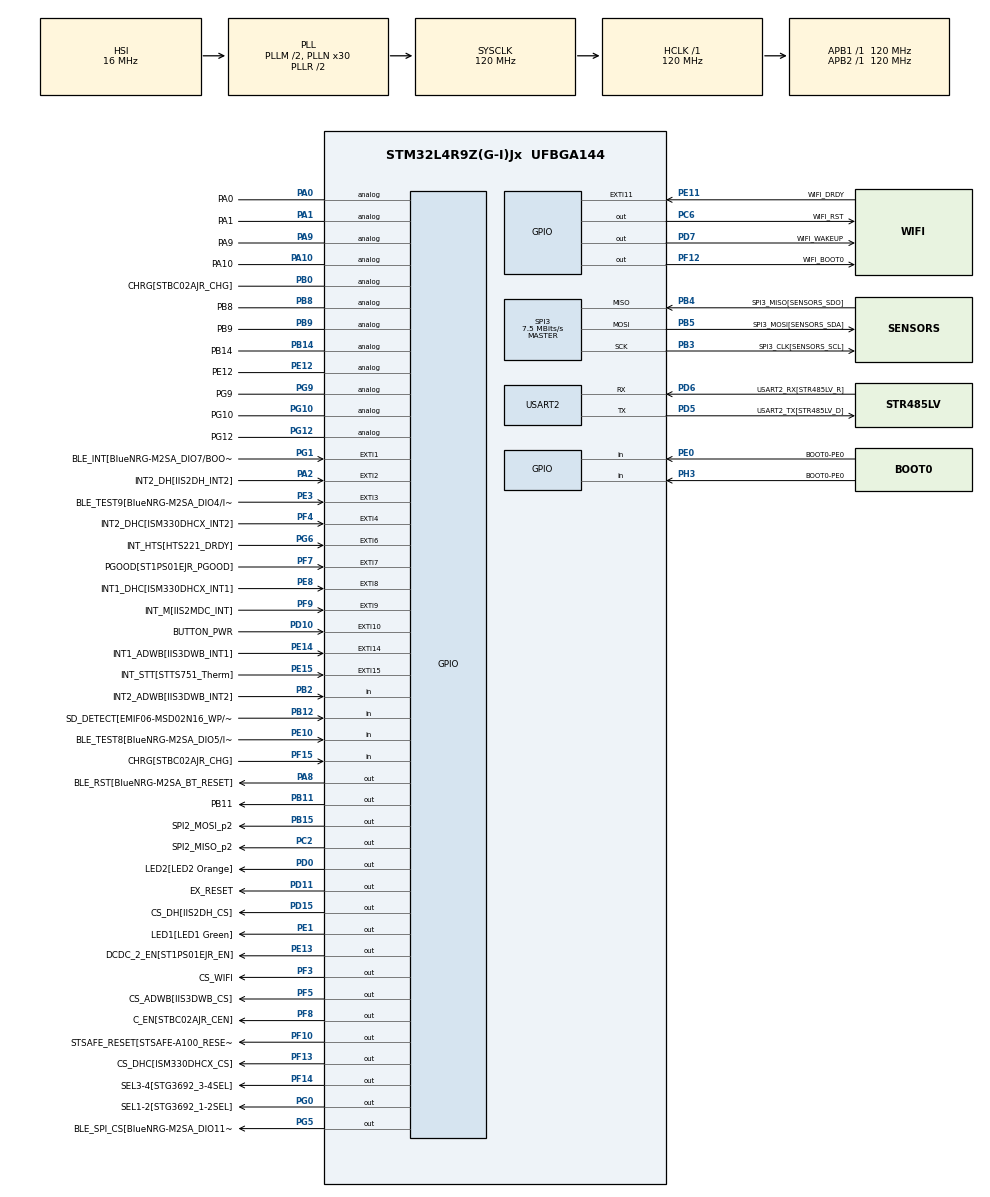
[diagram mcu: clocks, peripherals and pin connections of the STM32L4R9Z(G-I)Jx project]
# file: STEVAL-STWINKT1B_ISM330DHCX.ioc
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Mcu.Family=STM32L4
Mcu.Name=STM32L4R9Z(G-I)Jx
Mcu.Package=UFBGA144
NVIC.EXTI9_5_IRQn=true\:0\:0\:false\:false\:true\:true\:true\:true
NVIC.PriorityGroup=NVIC_PRIORITYGROUP_4
PA0.GPIO_Label=PA0
PA0.Signal=GPIO_Analog
PA1.GPIO_Label=PA1
PA1.Signal=GPIO_Analog
PA10.GPIO_Label=PA10
PA10.Signal=GPIO_Analog
PA11.GPIO_Label=OTG_FS_DM[USBLC6-2P6_D2]
PA11.Signal=USB_OTG_FS_DM
PA12.GPIO_Label=OTG_FS_DP[USBLC6-2P6_D1]
PA12.Signal=USB_OTG_FS_DP
PA13\ (JTMS/SWDIO).GPIO_Label=SWDIO
PA13\ (JTMS/SWDIO).Signal=SYS_JTMS-SWDIO
PA14\ (JTCK/SWCLK).GPIO_Label=SWDCLK
PA14\ (JTCK/SWCLK).Signal=SYS_JTCK-SWCLK
PA15\ (JTDI).GPIO_Label=EX_PWM
PA15\ (JTDI).Signal=S_TIM2_CH1
PA2.GPIO_Label=INT2_DH[IIS2DH_INT2]
PA2.Signal=GPXTI2
PA4.GPIO_Label=DAC1_OUT1
PA4.Signal=COMP_DAC11_group
PA5.GPIO_Label=EX_ADC
PA5.Signal=ADCx_IN10
PA8.GPIO_Label=BLE_RST[BlueNRG-M2SA_BT_RESET]
PA8.Signal=GPIO_Output
PA9.GPIO_Label=PA9
PA9.Signal=GPIO_Analog
PB0.GPIO_Label=CHRG[STBC02AJR_CHG]
PB0.Signal=GPIO_Analog
PB1.GPIO_Label=USART3_RTS[STG3692_3S2]
PB1.Signal=USART3_RTS
PB10.GPIO_Label=DFSDM1_D7
PB10.GPIO_PuPd=GPIO_PULLDOWN
PB10.GPIO_Speed=GPIO_SPEED_FREQ_VERY_HIGH
PB10.Signal=S_DATAIN7DFSDM1
PB11.GPIO_Label=PB11
PB11.Signal=GPIO_Output
PB12.GPIO_Label=SD_DETECT[EMIF06-MSD02N16_WP/CD]
PB12.Signal=GPIO_Input
PB13.GPIO_Label=USART3_CTS
PB13.Signal=USART3_CTS
PB14.GPIO_Label=PB14
PB14.Signal=GPIO_Analog
PB15.GPIO_Label=SPI2_MOSI_p2
PB15.Signal=GPIO_Output
PB2.GPIO_Label=INT2_ADWB[IIS3DWB_INT2]
PB2.Signal=GPIO_Input
PB3\ (JTDO/TRACESWO).GPIO_Label=SPI3_CLK[SENSORS_SCL]
PB3\ (JTDO/TRACESWO).Mode=Full_Duplex_Master
PB3\ (JTDO/TRACESWO).Signal=SPI3_SCK
PB4\ (NJTRST).GPIO_Label=SPI3_MISO[SENSORS_SDO]
PB4\ (NJTRST).Mode=Full_Duplex_Master
PB4\ (NJTRST).Signal=SPI3_MISO
PB5.GPIO_Label=SPI3_MOSI[SENSORS_SDA]
PB5.Mode=Full_Duplex_Master
PB5.Signal=SPI3_MOSI
PB6.GPIO_Label=DFSDM1_DATIN5[IMP34DT05_DOUT]
PB6.GPIO_PuPd=GPIO_PULLDOWN
PB6.GPIO_Speed=GPIO_SPEED_FREQ_VERY_HIGH
PB6.Signal=S_DATAIN5DFSDM1
PB8.GPIO_Label=PB8
PB8.Signal=GPIO_Analog
PB9.GPIO_Label=PB9
PB9.Signal=GPIO_Analog
PC0.GPIO_Label=ADC1_IN1[TS922EIJT_OUT2]
PC0.Signal=ADCx_IN1
PC1.GPIO_Label=ADC1_IN2[TS922EIJT_OUT1]
PC1.Signal=ADCx_IN2
PC10.GPIO_Label=SDMMC_D2[EMIF06-MSD02N16_DAT2_In]
PC10.Signal=SDMMC1_D2
PC11.GPIO_Label=SDMMC_D3[EMIF06-MSD02N16_DAT3_In]
PC11.Signal=SDMMC1_D3
PC12.GPIO_Label=SDMMC_CK[EMIF06-MSD02N16_CLK_In]
PC12.Signal=SDMMC1_CK
PC13.GPIO_Label=RTC_TAMP1
PC13.Signal=RTC_TAMP1
PC14-OSC32_IN\ (PC14).GPIO_Label=OSC32_IN
PC14-OSC32_IN\ (PC14).Signal=RCC_OSC32_IN
PC15-OSC32_OUT\ (PC15).GPIO_Label=OSC32_OUT
PC15-OSC32_OUT\ (PC15).Signal=RCC_OSC32_OUT
PC2.GPIO_Label=SPI2_MISO_p2
PC2.Signal=GPIO_Output
PC3.GPIO_Label=SPI2_MOSI[BlueNRG-M2SA_DIO3/SPI_MOSI]
PC3.Signal=SPI2_MOSI
PC4.GPIO_Label=uC_ADC_BATT[STBC02AJR_BATMS]
PC4.Signal=ADCx_IN13
PC5.GPIO_Label=PC5/WKUP5
PC5.Signal=SYS_WKUP5
PC6.GPIO_Label=WIFI_RST
PC6.Signal=GPIO_Output
PC8.GPIO_Label=SDMMC_D0[EMIF06-MSD02N16_DAT0_In]
PC8.Signal=SDMMC1_D0
PC9.GPIO_Label=SDMMC_D1[EMIF06-MSD02N16_DAT1_In]
PC9.Signal=SDMMC1_D1
PD0.GPIO_Label=LED2[LED2 Orange]
PD0.Signal=GPIO_Output
PD1.GPIO_Label=SPI2_CLK[BlueNRG-M2SA_DIO0/SPI_CLK]
PD1.Signal=SPI2_SCK
PD10.GPIO_Label=BUTTON_PWR
PD10.Signal=GPXTI10
PD11.GPIO_Label=EX_RESET 
PD11.Signal=GPIO_Output
PD12.GPIO_Label=I2C4_SCL
PD12.Signal=I2C4_SCL
PD13.GPIO_Label=I2C4_SDA
PD13.Signal=I2C4_SDA
PD15.GPIO_Label=CS_DH[IIS2DH_CS]
PD15.PinState=GPIO_PIN_SET
PD15.Signal=GPIO_Output
PD2.GPIO_Label=SDMMC_CMD[EMIF06-MSD02N16_CMD_In]
PD2.Signal=SDMMC1_CMD
PD3.GPIO_Label=SPI2_MISO[BlueNRG-M2SA_DIO2/SPI_MISO]
PD3.Signal=SPI2_MISO
PD4.GPIO_Label=USART2_RTS[STR485LV_DE]
PD4.Signal=USART2_RTS
PD5.GPIO_Label=USART2_TX[STR485LV_D]
PD5.Mode=Asynchronous
PD5.Signal=USART2_TX
PD6.GPIO_Label=USART2_RX[STR485LV_R]
PD6.Mode=Asynchronous
PD6.Signal=USART2_RX
PD7.GPIO_Label=WIFI_WAKEUP
PD7.Signal=GPIO_Output
PD8.GPIO_Label=USART3_TX[STG3692_1S1]
PD8.Signal=USART3_TX
PD9.GPIO_Label=USART3_RX[STG3692_2S1]
PD9.Signal=USART3_RX
PE0.GPIO_Label=BOOT0-PE0
PE0.Signal=GPIO_Input
PE1.GPIO_Label=LED1[LED1 Green]
PE1.Signal=GPIO_Output
PE10.GPIO_Label=BLE_TEST8[BlueNRG-M2SA_DIO5/I2C_SDA]
PE10.Signal=GPIO_Input
PE11.GPIO_Label=WIFI_DRDY
PE11.Signal=GPXTI11
PE12.GPIO_Label=PE12
PE12.Signal=GPIO_Analog
PE13.GPIO_Label=DCDC_2_EN[ST1PS01EJR_EN]
PE13.Signal=GPIO_Output
PE14.GPIO_Label=INT1_ADWB[IIS3DWB_INT1]
PE14.Signal=GPXTI14
PE15.GPIO_Label=INT_STT[STTS751_Therm]
PE15.Signal=GPXTI15
PE2.GPIO_Label=SAI1_MCLK_A
PE2.Signal=SAI1_MCLK_A
PE3.GPIO_Label=BLE_TEST9[BlueNRG-M2SA_DIO4/I2C_CLK]
PE3.Signal=GPXTI3
PE4.GPIO_Label=SAI1_FS_A/DFSDM_D3
PE4.Signal=SAI1_FS_A
PE5.GPIO_Label=SAI1_SCK_A
PE5.Signal=SAI1_SCK_A
PE6.GPIO_Label=SAI1_SD_A
PE6.Signal=SAI1_SD_A
PE7.GPIO_Label=SAI1_SD_B
PE7.Signal=SAI1_SD_B
PE8.GPIO_Label=INT1_DHC[ISM330DHCX_INT1]
PE8.Signal=GPXTI8
PE9.GPIO_Label=DFSDM1_CKOUT[IMP34DT05_CLK]
PE9.GPIO_PuPd=GPIO_PULLDOWN
PE9.GPIO_Speed=GPIO_SPEED_FREQ_VERY_HIGH
PE9.Signal=S_CKOUTDFSDM1
PF0.GPIO_Label=I2C2_SDA[SENSORS_SDA]
PF0.Signal=I2C2_SDA
PF1.GPIO_Label=I2C2_SDA[SENSORS_SCL]
PF1.Signal=I2C2_SCL
PF10.GPIO_Label=STSAFE_RESET[STSAFE-A100_RESET]
PF10.Signal=GPIO_Output
PF12.GPIO_Label=WIFI_BOOT0
PF12.Signal=GPIO_Output
PF13.GPIO_Label=CS_DHC[ISM330DHCX_CS]
PF13.GPIO_Speed=GPIO_SPEED_FREQ_HIGH
PF13.PinState=GPIO_PIN_SET
PF13.Signal=GPIO_Output
PF14.GPIO_Label=SEL3-4[STG3692_3-4SEL]
PF14.Signal=GPIO_Output
PF15.GPIO_Label=CHRG[STBC02AJR_CHG]
PF15.Signal=GPIO_Input
PF2.GPIO_Label=I2C2_SMBA[STTS751_EV]
PF2.Signal=I2C2_SMBA
PF3.GPIO_Label=CS_WIFI
PF3.PinState=GPIO_PIN_SET
PF3.Signal=GPIO_Output
PF4.GPIO_Label=INT2_DHC[ISM330DHCX_INT2]
PF4.Signal=GPXTI4
PF5.GPIO_Label=CS_ADWB[IIS3DWB_CS]
PF5.PinState=GPIO_PIN_SET
PF5.Signal=GPIO_Output
PF6.GPIO_Label=SW_SEL[STBC02AJR_SW_SEL]
PF6.GPIO_Speed=GPIO_SPEED_FREQ_HIGH
PF6.Signal=S_TIM5_CH1
PF7.GPIO_Label=PGOOD[ST1PS01EJR_PGOOD]
PF7.Signal=GPXTI7
PF8.GPIO_Label=C_EN[STBC02AJR_CEN]
PF8.Signal=GPIO_Output
PF9.GPIO_Label=INT_M[IIS2MDC_INT]
PF9.Signal=GPXTI9
PG0.GPIO_Label=SEL1-2[STG3692_1-2SEL]
PG0.Signal=GPIO_Output
PG1.GPIO_Label=BLE_INT[BlueNRG-M2SA_DIO7/BOOT/UART_CTS]
PG1.Signal=GPXTI1
PG10.GPIO_Label=PG10
PG10.Signal=GPIO_Analog
PG12.GPIO_Label=PG12
PG12.Signal=GPIO_Analog
PG2.GPIO_Label=SPI1_CLK
PG2.Signal=SPI1_SCK
PG3.GPIO_Label=SPI1_MISO
PG3.Signal=SPI1_MISO
PG4.GPIO_Label=SPI1_MOSI
PG4.Signal=SPI1_MOSI
PG5.GPIO_Label=BLE_SPI_CS[BlueNRG-M2SA_DIO11/UART_RXD]
PG5.Signal=GPIO_Output
PG6.GPIO_Label=INT_HTS[HTS221_DRDY]
PG6.Signal=GPXTI6
PG7.GPIO_Label=I2C3_SCL[STSAFE-A110_SCL]
PG7.Signal=I2C3_SCL
PG8.GPIO_Label=I2C3_SDA[STSAFE-A110_SDA]
PG8.Signal=I2C3_SDA
PG9.GPIO_Label=PG9
PG9.Signal=GPIO_Analog
PH0-OSC_IN\ (PH0).GPIO_Label=OSC_IN
PH0-OSC_IN\ (PH0).Signal=RCC_OSC_IN
PH1-OSC_OUT\ (PH1).GPIO_Label=OSC_OUT
PH1-OSC_OUT\ (PH1).Signal=RCC_OSC_OUT
PH3-BOOT0.GPIO_Label=BOOT0-PE0
PH3-BOOT0.Signal=GPIO_Input
ProjectManager.HeapSize=0x200
ProjectManager.StackSize=0x400
ProjectManager.TargetToolchain=Makefile
RCC.ADCFreq_Value=76800000
RCC.AHBFreq_Value=120000000
RCC.APB1Freq_Value=120000000
RCC.APB1TimFreq_Value=120000000
RCC.APB2Freq_Value=120000000
RCC.APB2TimFreq_Value=120000000
RCC.CK48CLockSelection=RCC_USBCLKSOURCE_HSI48
RCC.CortexFreq_Value=120000000
RCC.DSITX_Div=1
RCC.HCLKFreq_Value=120000000
RCC.HSE_VALUE=16000000
RCC.HSI48_VALUE=48000000
RCC.HSI_VALUE=16000000
RCC.LSE_VALUE=32768
RCC.MSI_VALUE=4000000
RCC.PLLDSIODF=DSI_PLL_OUT_DIV2
RCC.PLLM1=2
RCC.PLLM2=5
RCC.PLLM3=2
RCC.PLLN=30
RCC.PLLSAI1N=96
RCC.PLLSAI1P=RCC_PLLP_DIV25
RCC.PLLSAI1Q=RCC_PLLQ_DIV4
RCC.PLLSAI1R=RCC_PLLR_DIV4
RCC.PLLSourceVirtual=RCC_PLLSOURCE_HSI
RCC.RTCClockSelection=RCC_RTCCLKSOURCE_LSE
RCC.SDMMCClockSelection=RCC_SDIOCLKSOURCE_CLK48
RCC.SYSCLKFreq_VALUE=120000000
RCC.SYSCLKSource=RCC_SYSCLKSOURCE_PLLCLK
RCC.USBFreq_Value=48000000
RCC.VCOOutputFreq_Value=240000000
SH.ADCx_IN1.0=ADC1_IN1
SH.ADCx_IN10.0=ADC1_IN10
SH.ADCx_IN13.0=ADC1_IN13
SH.ADCx_IN2.0=ADC1_IN2
SH.COMP_DAC11_group.0=DAC1_OUT1
SH.S_CKOUTDFSDM1.0=DFSDM1_CKOUT
SH.S_DATAIN5DFSDM1.0=DFSDM1_DATIN5
SH.S_DATAIN7DFSDM1.0=DFSDM1_DATIN7
SH.S_TIM2_CH1.0=TIM2_CH1
SH.S_TIM5_CH1.0=TIM5_CH1
SPI3.BaudRatePrescaler=SPI_BAUDRATEPRESCALER_16
SPI3.CLKPhase=SPI_PHASE_2EDGE
SPI3.CLKPolarity=SPI_POLARITY_HIGH
SPI3.CalculateBaudRate=7.5 MBits/s
SPI3.DataSize=SPI_DATASIZE_8BIT
SPI3.Direction=SPI_DIRECTION_2LINES
SPI3.Mode=SPI_MODE_MASTER
SPI3.VirtualType=VM_MASTER
USART2.VirtualMode-Asynchronous=VM_ASYNC
board=STEVAL-STWINKT1B

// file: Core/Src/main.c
/* USER CODE BEGIN Header */
/**
  ******************************************************************************
  * @file           : main.c
  * @brief          : Main program body
  ******************************************************************************
  * @attention
  *
  * Copyright (c) 2022 STMicroelectronics.
  * All rights reserved.
  *
  * This software is licensed under terms that can be found in the LICENSE file
  * in the root directory of this software component.
  * If no LICENSE file comes with this software, it is provided AS-IS.
  * Modificado por Biblioman09:
  *
  * https://www.youtube.com/watch?v=KS5iw9z0krg
  *
  ******************************************************************************
  */
/* USER CODE END Header */
#include "main.h"

/* USER CODE BEGIN Includes */
#include <string.h>
#include <stdio.h>
#include "ism330dhcx_reg.h"
#include "cycle_dwt.h"
#include "NanoEdgeAI.h"

/* USER CODE END Includes */

/* USER CODE BEGIN PD */
/************************************************************ NEAI algorithm defines begin ************************************************************/
/************************************************************ Global settings part ************************************************************/
#ifndef AXIS
  #define AXIS                          3                         /* Axis should be defined between 1 and 3 */
#endif
#ifndef SAMPLES
  #define SAMPLES                       256                       /* Should be between 16 & 4096 */
#endif
#define MAX_FIFO_SIZE                   256                       /* The maximum number of data we can get in the FIFO is 512 but here we define max to 256 for our need */
#define FIFO_FULL                       512                       /* FIFO full size */
/************************************************************ Sensor type part ************************************************************/
#define GYROSCOPE                       0
#define ACCELEROMETER                   1
#ifndef SENSOR_TYPE
  #define SENSOR_TYPE                   ACCELEROMETER             /* Here we define the data type we're going to collect */
#endif
/************************************************************ Sensors configuration part ************************************************************/
#if (SENSOR_TYPE == ACCELEROMETER)
  #ifndef ACCELEROMETER_ODR
    #define ACCELEROMETER_ODR           ISM330DHCX_XL_ODR_833Hz  /* Shoud be between ISM330DHCX_XL_ODR_12Hz5 and ISM330DHCX_XL_ODR_6667Hz */

  #endif
  #ifndef ACCELEROMETER_FS
    #define ACCELEROMETER_FS            ISM330DHCX_2g             /* Should be between ISM330DHCX_2g and ISM330DHCX_8g */
  #endif
#elif (SENSOR_TYPE == GYROSCOPE)
  #ifndef GYROSCOPE_ODR
    #define GYROSCOPE_ODR               ISM330DHCX_GY_ODR_1666Hz  /* Shoud be between ISM330DHCX_GY_ODR_12Hz5 and ISM330DHCX_GY_ODR_6667Hz */
  #endif
  #ifndef GYROSCOPE_FS
    #define GYROSCOPE_FS                ISM330DHCX_2000dps        /* Should be between ISM330DHCX_125dps and ISM330DHCX_4000dps */
  #endif
#endif
/************************************************************ Datalogger / NEAI mode part ************************************************************/
#ifndef NEAI_MODE
  #define NEAI_MODE                     1                         /* 0: Datalogger mode, 1: NEAI functions mode */
#endif
#if (NEAI_MODE == 1)
  #ifndef NEAI_LEARN_NB
    #define NEAI_LEARN_NB               30                        /* Number of buffers to be learn by the NEAI library */
  #endif
#endif
/************************************************************ NEAI algorithm defines end ************************************************************/
/* USER CODE END PD */

 SPI_HandleTypeDef hspi3;

UART_HandleTypeDef huart2;

/* USER CODE BEGIN PV */
static int16_t data_raw_acceleration[3];
static int16_t data_raw_angular_rate[3];
static uint8_t whoamI, rst;
uint8_t neai_similarity = 0, neai_state = 0, drdy = 0;
uint16_t data_left = (uint16_t) SAMPLES, number_read = 0, neai_buffer_ptr = 0, neai_cnt = 0;
float neai_time = 0.0;
static float neai_buffer[AXIS * SAMPLES] = {0.0};
stmdev_ctx_t dev_ctx;

/* USER CODE END PV */

void SystemClock_Config(void);
static void MX_GPIO_Init(void);
static void MX_SPI3_Init(void);
static void MX_USART2_UART_Init(void);
/* USER CODE BEGIN PFP */
static int32_t platform_write(void *handle, uint8_t reg, const uint8_t *bufp, uint16_t len);
static int32_t platform_read(void *handle, uint8_t reg, uint8_t *bufp, uint16_t len);
static void ism330dhcx_initialize(void);
static void ism330dhcx_initialize_basics(void);
static void ism330dhcx_initialize_fifo(void);
static void ism330dhcx_get_buffer_from_fifo(uint16_t nb);
static float ism330dhcx_convert_gyro_data_to_mdps(int16_t gyro_raw_data);
static float ism330dhcx_convert_accel_data_to_mg(int16_t accel_raw_data);

/* USER CODE END PFP */

int main(void)
{
  /* USER CODE BEGIN 1 */
  /* Initialize mems driver interface */
  dev_ctx.write_reg = platform_write;
  dev_ctx.read_reg = platform_read;
  dev_ctx.handle = &hspi3;
  /* USER CODE END 1 */

  /* MCU Configuration--------------------------------------------------------*/

  /* Reset of all peripherals, Initializes the Flash interface and the Systick. */
  HAL_Init();

  /* Configure the system clock */
  SystemClock_Config();

  /* Initialize all configured peripherals */
  MX_GPIO_Init();
  MX_SPI3_Init();
  MX_USART2_UART_Init();
  /* USER CODE BEGIN 2 */
  KIN1_InitCycleCounter();
  KIN1_EnableCycleCounter();
  ism330dhcx_initialize();
  if (NEAI_MODE) {
    neai_state = neai_anomalydetection_init();
    printf("Initialize NEAI library. NEAI init return: %d.\n\r",  neai_state);
  }
  /* USER CODE END 2 */

  /* Infinite loop */
  /* USER CODE BEGIN WHILE */
  while (1)
  {
    uint8_t wtm_flag = 0, status2 = 0;
    uint16_t num = 0;
    if (drdy) {
      /* Reset data ready condition */
      drdy = 0;
      ism330dhcx_read_reg(&dev_ctx, ISM330DHCX_FIFO_STATUS2, &status2, 1);
      wtm_flag = status2 >> 7;
      if (wtm_flag) {
        ism330dhcx_fifo_data_level_get(&dev_ctx, &num);
        if (data_left < num) {
          num = data_left;
        }
        ism330dhcx_get_buffer_from_fifo(num);
        data_left -= num;
        number_read += num;
        if (data_left == 0) {
          ism330dhcx_fifo_mode_set(&dev_ctx, ISM330DHCX_BYPASS_MODE);
#if NEAI_MODE
          uint32_t cycles_cnt = 0;
          if (neai_cnt < NEAI_LEARN_NB) {
            neai_cnt++;
            KIN1_ResetCycleCounter();
            neai_state = neai_anomalydetection_learn(neai_buffer);
            cycles_cnt = KIN1_GetCycleCounter();
            neai_time = (cycles_cnt * 1000000.0) / HAL_RCC_GetSysClockFreq();
            printf("Learn: %d / %d. NEAI learn return: %d. Cycles counter: %ld = %.1f µs at %ld Hz.\n\r",
                  neai_cnt, NEAI_LEARN_NB, neai_state, cycles_cnt, neai_time, HAL_RCC_GetSysClockFreq());
          }
          else {
            KIN1_ResetCycleCounter();
            neai_state = neai_anomalydetection_detect(neai_buffer, &neai_similarity);
            cycles_cnt = KIN1_GetCycleCounter();
            neai_time = (cycles_cnt * 1000000.0) / HAL_RCC_GetSysClockFreq();
            printf("Similarity: %d / 100. NEAI detect return: %d. Cycles counter: %ld = %.1f µs at %ld Hz.\n\r",
                  neai_similarity, neai_state, cycles_cnt, neai_time, HAL_RCC_GetSysClockFreq());
          }
#else
          for (uint16_t i = 0; i < AXIS * SAMPLES; i++) {
            printf("%.3f ", neai_buffer[i]);
          }
          printf("\n");
#endif
          data_left = (uint16_t) SAMPLES;
          number_read = 0;
          memset(neai_buffer, 0x00, AXIS * SAMPLES * sizeof(float));
          if (SAMPLES <= MAX_FIFO_SIZE) {
            ism330dhcx_fifo_watermark_set(&dev_ctx, (uint16_t) SAMPLES);
          }
          else {
            ism330dhcx_fifo_watermark_set(&dev_ctx, (uint16_t) MAX_FIFO_SIZE);
          }
          ism330dhcx_fifo_mode_set(&dev_ctx, ISM330DHCX_STREAM_MODE);
        }
        else if (data_left < MAX_FIFO_SIZE) {
          ism330dhcx_fifo_watermark_set(&dev_ctx, data_left);
        }
      }
    }
    /* USER CODE END WHILE */

  }
}

void SystemClock_Config(void)
{
  RCC_OscInitTypeDef RCC_OscInitStruct = {0};
  RCC_ClkInitTypeDef RCC_ClkInitStruct = {0};

  /** Configure the main internal regulator output voltage
  */
  if (HAL_PWREx_ControlVoltageScaling(PWR_REGULATOR_VOLTAGE_SCALE1_BOOST) != HAL_OK)
  {
    Error_Handler();
  }

  /** Initializes the RCC Oscillators according to the specified parameters
  * in the RCC_OscInitTypeDef structure.
  */
  RCC_OscInitStruct.OscillatorType = RCC_OSCILLATORTYPE_HSI;
  RCC_OscInitStruct.HSIState = RCC_HSI_ON;
  RCC_OscInitStruct.HSICalibrationValue = RCC_HSICALIBRATION_DEFAULT;
  RCC_OscInitStruct.PLL.PLLState = RCC_PLL_ON;
  RCC_OscInitStruct.PLL.PLLSource = RCC_PLLSOURCE_HSI;
  RCC_OscInitStruct.PLL.PLLM = 2;
  RCC_OscInitStruct.PLL.PLLN = 30;
  RCC_OscInitStruct.PLL.PLLP = RCC_PLLP_DIV2;
  RCC_OscInitStruct.PLL.PLLQ = RCC_PLLQ_DIV2;
  RCC_OscInitStruct.PLL.PLLR = RCC_PLLR_DIV2;
  if (HAL_RCC_OscConfig(&RCC_OscInitStruct) != HAL_OK)
  {
    Error_Handler();
  }

  /** Initializes the CPU, AHB and APB buses clocks
  */
  RCC_ClkInitStruct.ClockType = RCC_CLOCKTYPE_HCLK|RCC_CLOCKTYPE_SYSCLK
                              |RCC_CLOCKTYPE_PCLK1|RCC_CLOCKTYPE_PCLK2;
  RCC_ClkInitStruct.SYSCLKSource = RCC_SYSCLKSOURCE_PLLCLK;
  RCC_ClkInitStruct.AHBCLKDivider = RCC_SYSCLK_DIV1;
  RCC_ClkInitStruct.APB1CLKDivider = RCC_HCLK_DIV1;
  RCC_ClkInitStruct.APB2CLKDivider = RCC_HCLK_DIV1;

  if (HAL_RCC_ClockConfig(&RCC_ClkInitStruct, FLASH_LATENCY_5) != HAL_OK)
  {
    Error_Handler();
  }
}

static void MX_SPI3_Init(void)
{

  /* SPI3 parameter configuration*/
  hspi3.Instance = SPI3;
  hspi3.Init.Mode = SPI_MODE_MASTER;
  hspi3.Init.Direction = SPI_DIRECTION_2LINES;
  hspi3.Init.DataSize = SPI_DATASIZE_8BIT;
  hspi3.Init.CLKPolarity = SPI_POLARITY_HIGH;
  hspi3.Init.CLKPhase = SPI_PHASE_2EDGE;
  hspi3.Init.NSS = SPI_NSS_SOFT;
  hspi3.Init.BaudRatePrescaler = SPI_BAUDRATEPRESCALER_16;
  hspi3.Init.FirstBit = SPI_FIRSTBIT_MSB;
  hspi3.Init.TIMode = SPI_TIMODE_DISABLE;
  hspi3.Init.CRCCalculation = SPI_CRCCALCULATION_DISABLE;
  hspi3.Init.CRCPolynomial = 7;
  hspi3.Init.CRCLength = SPI_CRC_LENGTH_DATASIZE;
  hspi3.Init.NSSPMode = SPI_NSS_PULSE_DISABLE;
  if (HAL_SPI_Init(&hspi3) != HAL_OK)
  {
    Error_Handler();
  }

}

static void MX_USART2_UART_Init(void)
{

  huart2.Instance = USART2;
  huart2.Init.BaudRate = 115200;
  huart2.Init.WordLength = UART_WORDLENGTH_8B;
  huart2.Init.StopBits = UART_STOPBITS_1;
  huart2.Init.Parity = UART_PARITY_NONE;
  huart2.Init.Mode = UART_MODE_TX_RX;
  huart2.Init.HwFlowCtl = UART_HWCONTROL_NONE;
  huart2.Init.OverSampling = UART_OVERSAMPLING_16;
  huart2.Init.OneBitSampling = UART_ONE_BIT_SAMPLE_DISABLE;
  huart2.Init.ClockPrescaler = UART_PRESCALER_DIV1;
  huart2.AdvancedInit.AdvFeatureInit = UART_ADVFEATURE_NO_INIT;
  if (HAL_UART_Init(&huart2) != HAL_OK)
  {
    Error_Handler();
  }
  if (HAL_UARTEx_SetTxFifoThreshold(&huart2, UART_TXFIFO_THRESHOLD_1_8) != HAL_OK)
  {
    Error_Handler();
  }
  if (HAL_UARTEx_SetRxFifoThreshold(&huart2, UART_RXFIFO_THRESHOLD_1_8) != HAL_OK)
  {
    Error_Handler();
  }
  if (HAL_UARTEx_DisableFifoMode(&huart2) != HAL_OK)
  {
    Error_Handler();
  }

}

static void MX_GPIO_Init(void)
{
  GPIO_InitTypeDef GPIO_InitStruct = {0};

  /* GPIO Ports Clock Enable */
  __HAL_RCC_GPIOE_CLK_ENABLE();
  __HAL_RCC_GPIOB_CLK_ENABLE();
  __HAL_RCC_GPIOH_CLK_ENABLE();
  __HAL_RCC_GPIOD_CLK_ENABLE();
  __HAL_RCC_GPIOC_CLK_ENABLE();
  __HAL_RCC_GPIOA_CLK_ENABLE();
  __HAL_RCC_GPIOG_CLK_ENABLE();
  HAL_PWREx_EnableVddIO2();
  __HAL_RCC_GPIOF_CLK_ENABLE();

  /*Configure GPIO pin Output Level */
  HAL_GPIO_WritePin(GPIOE, LED1_Pin|DCDC_2_EN_Pin, GPIO_PIN_RESET);

  /*Configure GPIO pin Output Level */
  HAL_GPIO_WritePin(GPIOD, LED2_Pin|WIFI_WAKEUP_Pin|EX_RESET_Pin, GPIO_PIN_RESET);

  /*Configure GPIO pin Output Level */
  HAL_GPIO_WritePin(BLE_RST_GPIO_Port, BLE_RST_Pin, GPIO_PIN_RESET);

  /*Configure GPIO pin Output Level */
  HAL_GPIO_WritePin(GPIOC, WIFI_RST_Pin|SPI2_MISO_p2_Pin, GPIO_PIN_RESET);

  /*Configure GPIO pin Output Level */
  HAL_GPIO_WritePin(GPIOF, CS_WIFI_Pin|CS_ADWB_Pin|CS_DHC_Pin, GPIO_PIN_SET);

  /*Configure GPIO pin Output Level */
  HAL_GPIO_WritePin(GPIOF, C_EN_Pin|STSAFE_RESET_Pin|WIFI_BOOT0_Pin|SEL3_4_Pin, GPIO_PIN_RESET);

  /*Configure GPIO pin Output Level */
  HAL_GPIO_WritePin(GPIOG, BLE_SPI_CS_Pin|SEL1_2_Pin, GPIO_PIN_RESET);

  /*Configure GPIO pin Output Level */
  HAL_GPIO_WritePin(CS_DH_GPIO_Port, CS_DH_Pin, GPIO_PIN_SET);

  /*Configure GPIO pin Output Level */
  HAL_GPIO_WritePin(GPIOB, SPI2_MOSI_p2_Pin|PB11_Pin, GPIO_PIN_RESET);

  /*Configure GPIO pins : BOOT0_PE0_Pin BLE_TEST8_Pin */
  GPIO_InitStruct.Pin = BOOT0_PE0_Pin|BLE_TEST8_Pin;
  GPIO_InitStruct.Mode = GPIO_MODE_INPUT;
  GPIO_InitStruct.Pull = GPIO_NOPULL;
  HAL_GPIO_Init(GPIOE, &GPIO_InitStruct);

  /*Configure GPIO pins : PB9_Pin PB8_Pin PB14_Pin CHRGB0_Pin */
  GPIO_InitStruct.Pin = PB9_Pin|PB8_Pin|PB14_Pin|CHRGB0_Pin;
  GPIO_InitStruct.Mode = GPIO_MODE_ANALOG;
  GPIO_InitStruct.Pull = GPIO_NOPULL;
  HAL_GPIO_Init(GPIOB, &GPIO_InitStruct);

  /*Configure GPIO pin : BOOT0_PE0H3_Pin */
  GPIO_InitStruct.Pin = BOOT0_PE0H3_Pin;
  GPIO_InitStruct.Mode = GPIO_MODE_INPUT;
  GPIO_InitStruct.Pull = GPIO_NOPULL;
  HAL_GPIO_Init(BOOT0_PE0H3_GPIO_Port, &GPIO_InitStruct);

  /*Configure GPIO pins : SPI2_MISO_Pin SPI2_CLK_Pin */
  GPIO_InitStruct.Pin = SPI2_MISO_Pin|SPI2_CLK_Pin;
  GPIO_InitStruct.Mode = GPIO_MODE_AF_PP;
  GPIO_InitStruct.Pull = GPIO_NOPULL;
  GPIO_InitStruct.Speed = GPIO_SPEED_FREQ_VERY_HIGH;
  GPIO_InitStruct.Alternate = GPIO_AF5_SPI2;
  HAL_GPIO_Init(GPIOD, &GPIO_InitStruct);

  /*Configure GPIO pins : SDMMC_D3_Pin SDMMC_D2_Pin SDMMC_D1_Pin SDMMC_CK_Pin
                           SDMMC_D0_Pin */
  GPIO_InitStruct.Pin = SDMMC_D3_Pin|SDMMC_D2_Pin|SDMMC_D1_Pin|SDMMC_CK_Pin
                          |SDMMC_D0_Pin;
  GPIO_InitStruct.Mode = GPIO_MODE_AF_PP;
  GPIO_InitStruct.Pull = GPIO_NOPULL;
  GPIO_InitStruct.Speed = GPIO_SPEED_FREQ_VERY_HIGH;
  GPIO_InitStruct.Alternate = GPIO_AF12_SDMMC1;
  HAL_GPIO_Init(GPIOC, &GPIO_InitStruct);

  /*Configure GPIO pins : BLE_TEST9_Pin WIFI_DRDY_Pin INT1_DHC_Pin INT_STT_Pin
                           INT1_ADWB_Pin */
  GPIO_InitStruct.Pin = BLE_TEST9_Pin|WIFI_DRDY_Pin|INT1_DHC_Pin|INT_STT_Pin
                          |INT1_ADWB_Pin;
  GPIO_InitStruct.Mode = GPIO_MODE_IT_RISING;
  GPIO_InitStruct.Pull = GPIO_NOPULL;
  HAL_GPIO_Init(GPIOE, &GPIO_InitStruct);

  /*Configure GPIO pin : EX_PWM_Pin */
  GPIO_InitStruct.Pin = EX_PWM_Pin;
  GPIO_InitStruct.Mode = GPIO_MODE_AF_PP;
  GPIO_InitStruct.Pull = GPIO_NOPULL;
  GPIO_InitStruct.Speed = GPIO_SPEED_FREQ_LOW;
  GPIO_InitStruct.Alternate = GPIO_AF1_TIM2;
  HAL_GPIO_Init(EX_PWM_GPIO_Port, &GPIO_InitStruct);

  /*Configure GPIO pins : OTG_FS_DP_Pin OTG_FS_DM_Pin */
  GPIO_InitStruct.Pin = OTG_FS_DP_Pin|OTG_FS_DM_Pin;
  GPIO_InitStruct.Mode = GPIO_MODE_AF_PP;
  GPIO_InitStruct.Pull = GPIO_NOPULL;
  GPIO_InitStruct.Speed = GPIO_SPEED_FREQ_VERY_HIGH;
  GPIO_InitStruct.Alternate = GPIO_AF10_OTG_FS;
  HAL_GPIO_Init(GPIOA, &GPIO_InitStruct);

  /*Configure GPIO pins : SAI1_SCK_A_Pin SAI1_MCLK_A_Pin SAI1_FS_A_DFSDM_D3_Pin SAI1_SD_A_Pin
                           SAI1_SD_B_Pin */
  GPIO_InitStruct.Pin = SAI1_SCK_A_Pin|SAI1_MCLK_A_Pin|SAI1_FS_A_DFSDM_D3_Pin|SAI1_SD_A_Pin
                          |SAI1_SD_B_Pin;
  GPIO_InitStruct.Mode = GPIO_MODE_AF_PP;
  GPIO_InitStruct.Pull = GPIO_NOPULL;
  GPIO_InitStruct.Speed = GPIO_SPEED_FREQ_LOW;
  GPIO_InitStruct.Alternate = GPIO_AF13_SAI1;
  HAL_GPIO_Init(GPIOE, &GPIO_InitStruct);

  /*Configure GPIO pins : LED1_Pin DCDC_2_EN_Pin */
  GPIO_InitStruct.Pin = LED1_Pin|DCDC_2_EN_Pin;
  GPIO_InitStruct.Mode = GPIO_MODE_OUTPUT_PP;
  GPIO_InitStruct.Pull = GPIO_NOPULL;
  GPIO_InitStruct.Speed = GPIO_SPEED_FREQ_LOW;
  HAL_GPIO_Init(GPIOE, &GPIO_InitStruct);

  /*Configure GPIO pins : LED2_Pin WIFI_WAKEUP_Pin CS_DH_Pin EX_RESET_Pin */
  GPIO_InitStruct.Pin = LED2_Pin|WIFI_WAKEUP_Pin|CS_DH_Pin|EX_RESET_Pin;
  GPIO_InitStruct.Mode = GPIO_MODE_OUTPUT_PP;
  GPIO_InitStruct.Pull = GPIO_NOPULL;
  GPIO_InitStruct.Speed = GPIO_SPEED_FREQ_LOW;
  HAL_GPIO_Init(GPIOD, &GPIO_InitStruct);

  /*Configure GPIO pins : PA10_Pin PA9_Pin PA0_Pin DAC1_OUT1_Pin
                           PA1_Pin */
  GPIO_InitStruct.Pin = PA10_Pin|PA9_Pin|PA0_Pin|DAC1_OUT1_Pin
                          |PA1_Pin;
  GPIO_InitStruct.Mode = GPIO_MODE_ANALOG;
  GPIO_InitStruct.Pull = GPIO_NOPULL;
  HAL_GPIO_Init(GPIOA, &GPIO_InitStruct);

  /*Configure GPIO pins : DFSDM1_DATIN5_Pin DFSDM1_D7_Pin */
  GPIO_InitStruct.Pin = DFSDM1_DATIN5_Pin|DFSDM1_D7_Pin;
  GPIO_InitStruct.Mode = GPIO_MODE_AF_PP;
  GPIO_InitStruct.Pull = GPIO_PULLDOWN;
  GPIO_InitStruct.Speed = GPIO_SPEED_FREQ_VERY_HIGH;
  GPIO_InitStruct.Alternate = GPIO_AF6_DFSDM1;
  HAL_GPIO_Init(GPIOB, &GPIO_InitStruct);

  /*Configure GPIO pins : PG12_Pin PG10_Pin PG9_Pin */
  GPIO_InitStruct.Pin = PG12_Pin|PG10_Pin|PG9_Pin;
  GPIO_InitStruct.Mode = GPIO_MODE_ANALOG;
  GPIO_InitStruct.Pull = GPIO_NOPULL;
  HAL_GPIO_Init(GPIOG, &GPIO_InitStruct);

  /*Configure GPIO pin : SDMMC_CMD_Pin */
  GPIO_InitStruct.Pin = SDMMC_CMD_Pin;
  GPIO_InitStruct.Mode = GPIO_MODE_AF_PP;
  GPIO_InitStruct.Pull = GPIO_NOPULL;
  GPIO_InitStruct.Speed = GPIO_SPEED_FREQ_VERY_HIGH;
  GPIO_InitStruct.Alternate = GPIO_AF12_SDMMC1;
  HAL_GPIO_Init(SDMMC_CMD_GPIO_Port, &GPIO_InitStruct);

  /*Configure GPIO pin : BLE_RST_Pin */
  GPIO_InitStruct.Pin = BLE_RST_Pin;
  GPIO_InitStruct.Mode = GPIO_MODE_OUTPUT_PP;
  GPIO_InitStruct.Pull = GPIO_NOPULL;
  GPIO_InitStruct.Speed = GPIO_SPEED_FREQ_LOW;
  HAL_GPIO_Init(BLE_RST_GPIO_Port, &GPIO_InitStruct);

  /*Configure GPIO pins : WIFI_RST_Pin SPI2_MISO_p2_Pin */
  GPIO_InitStruct.Pin = WIFI_RST_Pin|SPI2_MISO_p2_Pin;
  GPIO_InitStruct.Mode = GPIO_MODE_OUTPUT_PP;
  GPIO_InitStruct.Pull = GPIO_NOPULL;
  GPIO_InitStruct.Speed = GPIO_SPEED_FREQ_LOW;
  HAL_GPIO_Init(GPIOC, &GPIO_InitStruct);

  /*Configure GPIO pins : I2C2_SMBA_Pin I2C2_SDA_Pin I2C2_SDAF0_Pin */
  GPIO_InitStruct.Pin = I2C2_SMBA_Pin|I2C2_SDA_Pin|I2C2_SDAF0_Pin;
  GPIO_InitStruct.Mode = GPIO_MODE_AF_OD;
  GPIO_InitStruct.Pull = GPIO_NOPULL;
  GPIO_InitStruct.Speed = GPIO_SPEED_FREQ_VERY_HIGH;
  GPIO_InitStruct.Alternate = GPIO_AF4_I2C2;
  HAL_GPIO_Init(GPIOF, &GPIO_InitStruct);

  /*Configure GPIO pins : CS_WIFI_Pin C_EN_Pin CS_ADWB_Pin STSAFE_RESET_Pin
                           WIFI_BOOT0_Pin SEL3_4_Pin */
  GPIO_InitStruct.Pin = CS_WIFI_Pin|C_EN_Pin|CS_ADWB_Pin|STSAFE_RESET_Pin
                          |WIFI_BOOT0_Pin|SEL3_4_Pin;
  GPIO_InitStruct.Mode = GPIO_MODE_OUTPUT_PP;
  GPIO_InitStruct.Pull = GPIO_NOPULL;
  GPIO_InitStruct.Speed = GPIO_SPEED_FREQ_LOW;
  HAL_GPIO_Init(GPIOF, &GPIO_InitStruct);

  /*Configure GPIO pins : I2C3_SDA_Pin I2C3_SCL_Pin */
  GPIO_InitStruct.Pin = I2C3_SDA_Pin|I2C3_SCL_Pin;
  GPIO_InitStruct.Mode = GPIO_MODE_AF_OD;
  GPIO_InitStruct.Pull = GPIO_NOPULL;
  GPIO_InitStruct.Speed = GPIO_SPEED_FREQ_VERY_HIGH;
  GPIO_InitStruct.Alternate = GPIO_AF4_I2C3;
  HAL_GPIO_Init(GPIOG, &GPIO_InitStruct);

  /*Configure GPIO pin : SW_SEL_Pin */
  GPIO_InitStruct.Pin = SW_SEL_Pin;
  GPIO_InitStruct.Mode = GPIO_MODE_AF_PP;
  GPIO_InitStruct.Pull = GPIO_NOPULL;
  GPIO_InitStruct.Speed = GPIO_SPEED_FREQ_HIGH;
  GPIO_InitStruct.Alternate = GPIO_AF2_TIM5;
  HAL_GPIO_Init(SW_SEL_GPIO_Port, &GPIO_InitStruct);

  /*Configure GPIO pins : INT2_DHC_Pin PGOOD_Pin INT_M_Pin */
  GPIO_InitStruct.Pin = INT2_DHC_Pin|PGOOD_Pin|INT_M_Pin;
  GPIO_InitStruct.Mode = GPIO_MODE_IT_RISING;
  GPIO_InitStruct.Pull = GPIO_NOPULL;
  HAL_GPIO_Init(GPIOF, &GPIO_InitStruct);

  /*Configure GPIO pins : SPI1_MISO_Pin SPI1_MOSI_Pin SPI1_CLK_Pin */
  GPIO_InitStruct.Pin = SPI1_MISO_Pin|SPI1_MOSI_Pin|SPI1_CLK_Pin;
  GPIO_InitStruct.Mode = GPIO_MODE_AF_PP;
  GPIO_InitStruct.Pull = GPIO_NOPULL;
  GPIO_InitStruct.Speed = GPIO_SPEED_FREQ_VERY_HIGH;
  GPIO_InitStruct.Alternate = GPIO_AF5_SPI1;
  HAL_GPIO_Init(GPIOG, &GPIO_InitStruct);

  /*Configure GPIO pins : BLE_SPI_CS_Pin SEL1_2_Pin */
  GPIO_InitStruct.Pin = BLE_SPI_CS_Pin|SEL1_2_Pin;
  GPIO_InitStruct.Mode = GPIO_MODE_OUTPUT_PP;
  GPIO_InitStruct.Pull = GPIO_NOPULL;
  GPIO_InitStruct.Speed = GPIO_SPEED_FREQ_LOW;
  HAL_GPIO_Init(GPIOG, &GPIO_InitStruct);

  /*Configure GPIO pins : INT_HTS_Pin BLE_INT_Pin */
  GPIO_InitStruct.Pin = INT_HTS_Pin|BLE_INT_Pin;
  GPIO_InitStruct.Mode = GPIO_MODE_IT_RISING;
  GPIO_InitStruct.Pull = GPIO_NOPULL;
  HAL_GPIO_Init(GPIOG, &GPIO_InitStruct);

  /*Configure GPIO pins : I2C4_SCL_Pin I2C4_SDA_Pin */
  GPIO_InitStruct.Pin = I2C4_SCL_Pin|I2C4_SDA_Pin;
  GPIO_InitStruct.Mode = GPIO_MODE_AF_OD;
  GPIO_InitStruct.Pull = GPIO_NOPULL;
  GPIO_InitStruct.Speed = GPIO_SPEED_FREQ_VERY_HIGH;
  GPIO_InitStruct.Alternate = GPIO_AF4_I2C4;
  HAL_GPIO_Init(GPIOD, &GPIO_InitStruct);

  /*Configure GPIO pins : ADC1_IN1_Pin ADC1_IN2_Pin uC_ADC_BATT_Pin */
  GPIO_InitStruct.Pin = ADC1_IN1_Pin|ADC1_IN2_Pin|uC_ADC_BATT_Pin;
  GPIO_InitStruct.Mode = GPIO_MODE_ANALOG_ADC_CONTROL;
  GPIO_InitStruct.Pull = GPIO_NOPULL;
  HAL_GPIO_Init(GPIOC, &GPIO_InitStruct);

  /*Configure GPIO pins : INT2_ADWB_Pin SD_DETECT_Pin */
  GPIO_InitStruct.Pin = INT2_ADWB_Pin|SD_DETECT_Pin;
  GPIO_InitStruct.Mode = GPIO_MODE_INPUT;
  GPIO_InitStruct.Pull = GPIO_NOPULL;
  HAL_GPIO_Init(GPIOB, &GPIO_InitStruct);

  /*Configure GPIO pin : CHRG_Pin */
  GPIO_InitStruct.Pin = CHRG_Pin;
  GPIO_InitStruct.Mode = GPIO_MODE_INPUT;
  GPIO_InitStruct.Pull = GPIO_NOPULL;
  HAL_GPIO_Init(CHRG_GPIO_Port, &GPIO_InitStruct);

  /*Configure GPIO pin : BUTTON_PWR_Pin */
  GPIO_InitStruct.Pin = BUTTON_PWR_Pin;
  GPIO_InitStruct.Mode = GPIO_MODE_IT_RISING;
  GPIO_InitStruct.Pull = GPIO_NOPULL;
  HAL_GPIO_Init(BUTTON_PWR_GPIO_Port, &GPIO_InitStruct);

  /*Configure GPIO pins : USART3_RX_Pin USART3_TX_Pin */
  GPIO_InitStruct.Pin = USART3_RX_Pin|USART3_TX_Pin;
  GPIO_InitStruct.Mode = GPIO_MODE_AF_PP;
  GPIO_InitStruct.Pull = GPIO_NOPULL;
  GPIO_InitStruct.Speed = GPIO_SPEED_FREQ_VERY_HIGH;
  GPIO_InitStruct.Alternate = GPIO_AF7_USART3;
  HAL_GPIO_Init(GPIOD, &GPIO_InitStruct);

  /*Configure GPIO pin : SPI2_MOSI_Pin */
  GPIO_InitStruct.Pin = SPI2_MOSI_Pin;
  GPIO_InitStruct.Mode = GPIO_MODE_AF_PP;
  GPIO_InitStruct.Pull = GPIO_NOPULL;
  GPIO_InitStruct.Speed = GPIO_SPEED_FREQ_VERY_HIGH;
  GPIO_InitStruct.Alternate = GPIO_AF5_SPI2;
  HAL_GPIO_Init(SPI2_MOSI_GPIO_Port, &GPIO_InitStruct);

  /*Configure GPIO pins : USART3_RTS_Pin USART3_CTS_Pin */
  GPIO_InitStruct.Pin = USART3_RTS_Pin|USART3_CTS_Pin;
  GPIO_InitStruct.Mode = GPIO_MODE_AF_PP;
  GPIO_InitStruct.Pull = GPIO_NOPULL;
  GPIO_InitStruct.Speed = GPIO_SPEED_FREQ_VERY_HIGH;
  GPIO_InitStruct.Alternate = GPIO_AF7_USART3;
  HAL_GPIO_Init(GPIOB, &GPIO_InitStruct);

  /*Configure GPIO pin : CS_DHC_Pin */
  GPIO_InitStruct.Pin = CS_DHC_Pin;
  GPIO_InitStruct.Mode = GPIO_MODE_OUTPUT_PP;
  GPIO_InitStruct.Pull = GPIO_NOPULL;
  GPIO_InitStruct.Speed = GPIO_SPEED_FREQ_HIGH;
  HAL_GPIO_Init(CS_DHC_GPIO_Port, &GPIO_InitStruct);

  /*Configure GPIO pin : DFSDM1_CKOUT_Pin */
  GPIO_InitStruct.Pin = DFSDM1_CKOUT_Pin;
  GPIO_InitStruct.Mode = GPIO_MODE_AF_PP;
  GPIO_InitStruct.Pull = GPIO_PULLDOWN;
  GPIO_InitStruct.Speed = GPIO_SPEED_FREQ_VERY_HIGH;
  GPIO_InitStruct.Alternate = GPIO_AF6_DFSDM1;
  HAL_GPIO_Init(DFSDM1_CKOUT_GPIO_Port, &GPIO_InitStruct);

  /*Configure GPIO pins : SPI2_MOSI_p2_Pin PB11_Pin */
  GPIO_InitStruct.Pin = SPI2_MOSI_p2_Pin|PB11_Pin;
  GPIO_InitStruct.Mode = GPIO_MODE_OUTPUT_PP;
  GPIO_InitStruct.Pull = GPIO_NOPULL;
  GPIO_InitStruct.Speed = GPIO_SPEED_FREQ_LOW;
  HAL_GPIO_Init(GPIOB, &GPIO_InitStruct);

  /*Configure GPIO pin : INT2_DH_Pin */
  GPIO_InitStruct.Pin = INT2_DH_Pin;
  GPIO_InitStruct.Mode = GPIO_MODE_IT_RISING;
  GPIO_InitStruct.Pull = GPIO_NOPULL;
  HAL_GPIO_Init(INT2_DH_GPIO_Port, &GPIO_InitStruct);

  /*Configure GPIO pin : EX_ADC_Pin */
  GPIO_InitStruct.Pin = EX_ADC_Pin;
  GPIO_InitStruct.Mode = GPIO_MODE_ANALOG_ADC_CONTROL;
  GPIO_InitStruct.Pull = GPIO_NOPULL;
  HAL_GPIO_Init(EX_ADC_GPIO_Port, &GPIO_InitStruct);

  /*Configure GPIO pin : PE12_Pin */
  GPIO_InitStruct.Pin = PE12_Pin;
  GPIO_InitStruct.Mode = GPIO_MODE_ANALOG;
  GPIO_InitStruct.Pull = GPIO_NOPULL;
  HAL_GPIO_Init(PE12_GPIO_Port, &GPIO_InitStruct);

  /* EXTI interrupt init*/
  HAL_NVIC_SetPriority(EXTI9_5_IRQn, 0, 0);
  HAL_NVIC_EnableIRQ(EXTI9_5_IRQn);

}

/* USER CODE BEGIN 4 */
/* ----------- Redirecting stdout to UART2 -------------- */
int __io_putchar(int ch)
{
 uint8_t c[1];
 c[0] = ch & 0x00FF;
 HAL_UART_Transmit(&huart2, &*c, 1, 10);
 return ch;
}

/**
  * @brief  EXTI line detection callback.
  * @param  GPIO_Pin Specifies the port pin connected to corresponding EXTI line.
  * @retval None
  */
void HAL_GPIO_EXTI_Callback(uint16_t GPIO_Pin)
{
  switch(GPIO_Pin) {
  case INT1_DHC_Pin:
    drdy = 1;
    break;
  }
}

/*
 * @brief  Write generic device register (platform dependent)
 *
 * @param  handle    customizable argument. In this examples is used in
 *                   order to select the correct sensor bus handler.
 * @param  reg       register to write
 * @param  bufp      pointer to data to write in register reg
 * @param  len       number of consecutive register to write
 *
 */
static int32_t platform_write(void *handle, uint8_t reg, const uint8_t *bufp, uint16_t len)
{
  HAL_GPIO_WritePin(CS_DHC_GPIO_Port, CS_DHC_Pin, GPIO_PIN_RESET);
  HAL_SPI_Transmit(handle, &reg, 1, 1000);
  HAL_SPI_Transmit(handle, (uint8_t*) bufp, len, 1000);
  HAL_GPIO_WritePin(CS_DHC_GPIO_Port, CS_DHC_Pin, GPIO_PIN_SET);
  return 0;
}

/*
 * @brief  Read generic device register (platform dependent)
 *
 * @param  handle    customizable argument. In this examples is used in
 *                   order to select the correct sensor bus handler.
 * @param  reg       register to read
 * @param  bufp      pointer to buffer that store the data read
 * @param  len       number of consecutive register to read
 *
 */
static int32_t platform_read(void *handle, uint8_t reg, uint8_t *bufp, uint16_t len)
{
  reg |= 0x80;
  HAL_GPIO_WritePin(CS_DHC_GPIO_Port, CS_DHC_Pin, GPIO_PIN_RESET);
  HAL_SPI_Transmit(handle, &reg, 1, 1000);
  HAL_SPI_Receive(handle, bufp, len, 1000);
  HAL_GPIO_WritePin(CS_DHC_GPIO_Port, CS_DHC_Pin, GPIO_PIN_SET);
  return 0;
}

/*
 * @brief  Initialize ISM330DHCX sensor interface
 *
 * @param  No
 *
 * @return No
 *
 */
static void ism330dhcx_initialize()
{
  ism330dhcx_initialize_basics();
#if (SENSOR_TYPE == ACCELEROMETER)
  /* Accelelerometer configuration */
  ism330dhcx_xl_data_rate_set(&dev_ctx, ACCELEROMETER_ODR);
  ism330dhcx_xl_full_scale_set(&dev_ctx, ACCELEROMETER_FS);
#elif (SENSOR_TYPE == GYROSCOPE)
  /* Gyroscope configuration */
  ism330dhcx_gy_data_rate_set(&dev_ctx, GYROSCOPE_ODR);
  ism330dhcx_gy_full_scale_set(&dev_ctx, GYROSCOPE_FS);
#endif
  ism330dhcx_initialize_fifo();
}

/*
 * @brief  Initialize ISM330DHCX basics
 *
 * @param  No
 *
 * @return No
 *
 */
static void ism330dhcx_initialize_basics()
{
  /* Check device ID */
  whoamI = 0;

  do {
    /* Wait sensor boot time */
    HAL_Delay(10);
    ism330dhcx_device_id_get(&dev_ctx, &whoamI);
  } while (whoamI != ISM330DHCX_ID);

  /* Restore default configuration */
  ism330dhcx_reset_set(&dev_ctx, PROPERTY_ENABLE);

  do {
    ism330dhcx_reset_get(&dev_ctx, &rst);
  } while (rst);

  /* Start device configuration. */
  ism330dhcx_device_conf_set(&dev_ctx, PROPERTY_ENABLE);
}

/*
 * @brief  Initialize ISM330DHCX internal FIFO
 *
 * @param  No
 *
 * @return No
 *
 */
static void ism330dhcx_initialize_fifo()
{
#if (SENSOR_TYPE == ACCELEROMETER)
  /* Batch odr config */
  ism330dhcx_fifo_xl_batch_set(&dev_ctx, ACCELEROMETER_ODR);
  ism330dhcx_fifo_gy_batch_set(&dev_ctx, 0);
#elif (SENSOR_TYPE == GYROSCOPE)
  /* Batch odr config */
  ism330dhcx_fifo_xl_batch_set(&dev_ctx, 0);
  ism330dhcx_fifo_gy_batch_set(&dev_ctx, GYROSCOPE_ODR);
#endif
  /* FIFO MODE */
  ism330dhcx_fifo_mode_set(&dev_ctx, ISM330DHCX_BYPASS_MODE);
  HAL_Delay(10);
  ism330dhcx_fifo_mode_set(&dev_ctx, ISM330DHCX_STREAM_MODE);
  /* Watermark config */
  if (SAMPLES <= MAX_FIFO_SIZE) {
    ism330dhcx_fifo_watermark_set(&dev_ctx, (uint16_t) SAMPLES);
  }
  else {
    ism330dhcx_fifo_watermark_set(&dev_ctx, (uint16_t) MAX_FIFO_SIZE);
  }
  uint8_t ctrl = 0x08;
  ism330dhcx_write_reg(&dev_ctx, ISM330DHCX_INT1_CTRL, (uint8_t *) &ctrl, 1);
}

/*
 * @brief  Get accelerometer or gyroscope data from
 *         ISM330DHCX using the internal FIFO buffer
 *
 * @param  No
 *
 * @return No
 *
 */
static void ism330dhcx_get_buffer_from_fifo(uint16_t nb)
{
  static int16_t dummy[3];
  ism330dhcx_fifo_tag_t reg_tag;
  for (uint16_t i = 0; i < nb; i++) {
    /* Read FIFO tag */
    ism330dhcx_fifo_sensor_tag_get(&dev_ctx, &reg_tag);
    if(reg_tag == ISM330DHCX_XL_NC_TAG) {
      memset(data_raw_acceleration, 0x00, 3 * sizeof(int16_t));
      ism330dhcx_fifo_out_raw_get(&dev_ctx, (uint8_t *) data_raw_acceleration);
      neai_buffer[(AXIS * neai_buffer_ptr) + (AXIS * i)] = ism330dhcx_convert_accel_data_to_mg(data_raw_acceleration[0]);
      neai_buffer[(AXIS * neai_buffer_ptr) + (AXIS * i) + 1] = ism330dhcx_convert_accel_data_to_mg(data_raw_acceleration[1]);
      neai_buffer[(AXIS * neai_buffer_ptr) + (AXIS * i) + 2] = ism330dhcx_convert_accel_data_to_mg(data_raw_acceleration[2]);
    }
    else if(reg_tag == ISM330DHCX_GYRO_NC_TAG) {
      memset(data_raw_angular_rate, 0x00, 3 * sizeof(int16_t));
      ism330dhcx_fifo_out_raw_get(&dev_ctx, (uint8_t *) data_raw_angular_rate);
      neai_buffer[(AXIS * neai_buffer_ptr) + (AXIS * i)] = ism330dhcx_convert_gyro_data_to_mdps(data_raw_angular_rate[0]);
      neai_buffer[(AXIS * neai_buffer_ptr) + (AXIS * i) + 1] = ism330dhcx_convert_gyro_data_to_mdps(data_raw_angular_rate[1]);
      neai_buffer[(AXIS * neai_buffer_ptr) + (AXIS * i) + 2] = ism330dhcx_convert_gyro_data_to_mdps(data_raw_angular_rate[2]);
    }
    else {
      /* Flush unused samples */
      printf("Bad sensor tag: %d.\n", reg_tag);
      memset(dummy, 0x00, 3 * sizeof(int16_t));
      ism330dhcx_fifo_out_raw_get(&dev_ctx, (uint8_t *) dummy);
    }
  }
  neai_buffer_ptr += nb;
  if (neai_buffer_ptr == SAMPLES) {
    neai_buffer_ptr = 0;
  }
}

/*
 * @brief  Convert gyroscope raw data to milli degrees per second (mdps)
 *
 * @param  gyro_raw_data: which is gyroscope raw data
 *                        depending on the full scale selected
 *
 * @return The converted value in milli degrees per second (mdps)
 *
 */
static float ism330dhcx_convert_gyro_data_to_mdps(int16_t gyro_raw_data)
{
  float gyro_data_mdps = 0.0;
#if (SENSOR_TYPE == GYROSCOPE)
  switch (GYROSCOPE_FS)
  {
  case ISM330DHCX_125dps:
    gyro_data_mdps = ism330dhcx_from_fs125dps_to_mdps(gyro_raw_data);
    break;
  case ISM330DHCX_250dps:
    gyro_data_mdps = ism330dhcx_from_fs250dps_to_mdps(gyro_raw_data);
    break;
  case ISM330DHCX_500dps:
    gyro_data_mdps = ism330dhcx_from_fs500dps_to_mdps(gyro_raw_data);
    break;
  case ISM330DHCX_1000dps:
    gyro_data_mdps = ism330dhcx_from_fs1000dps_to_mdps(gyro_raw_data);
    break;
  case ISM330DHCX_2000dps:
    gyro_data_mdps = ism330dhcx_from_fs2000dps_to_mdps(gyro_raw_data);
    break;
  case ISM330DHCX_4000dps:
    gyro_data_mdps = ism330dhcx_from_fs4000dps_to_mdps(gyro_raw_data);
    break;
  default:
    gyro_data_mdps = 0.0;
    break;
  }
#endif
  return gyro_data_mdps;
}

/*
 * @brief  Convert accelerometer raw data to milli-G' (mg)
 *
 * @param  accel_raw_data: which is accelerometer raw data
 *                        depending on the full scale selected
 *
 * @return The converted value in milli-G' (mg)
 *
 */
static float ism330dhcx_convert_accel_data_to_mg(int16_t accel_raw_data)
{
  float accel_data_mg = 0.0;
#if (SENSOR_TYPE == ACCELEROMETER)
  switch (ACCELEROMETER_FS)
  {
  case ISM330DHCX_2g:
    accel_data_mg = ism330dhcx_from_fs2g_to_mg(accel_raw_data);
    break;
  case ISM330DHCX_4g:
    accel_data_mg = ism330dhcx_from_fs4g_to_mg(accel_raw_data);
    break;
  case ISM330DHCX_8g:
    accel_data_mg = ism330dhcx_from_fs8g_to_mg(accel_raw_data);
    break;
  case ISM330DHCX_16g:
    accel_data_mg = ism330dhcx_from_fs16g_to_mg(accel_raw_data);
    break;
  default:
    accel_data_mg = 0.0;
    break;
  }
#endif
  return accel_data_mg;
}

/* USER CODE END 4 */

void Error_Handler(void)
{
  __disable_irq();
  while (1)
  {
  }
}
